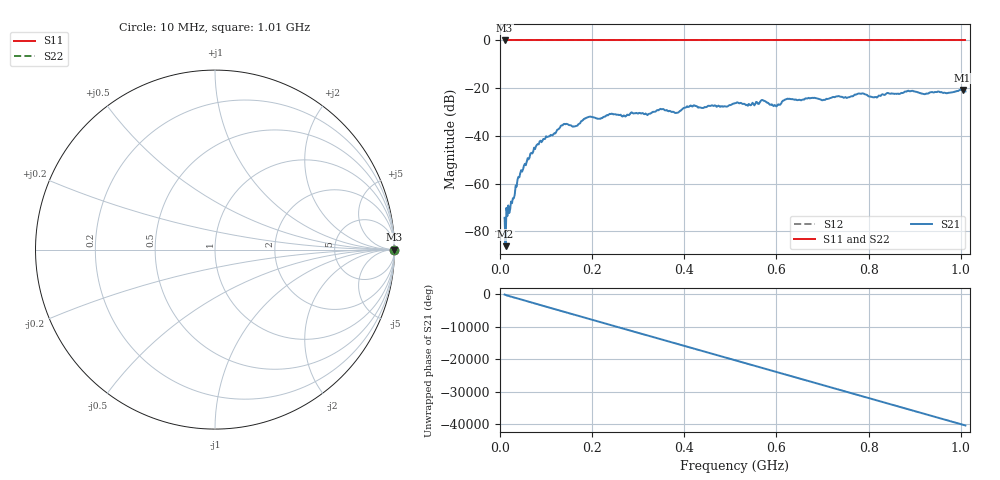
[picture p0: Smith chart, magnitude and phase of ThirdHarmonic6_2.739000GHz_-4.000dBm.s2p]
! 8/17/2025 6:46:56 AM
! C:\ANRITSUVNA\TEMP\TEMP.S2P
! CHANNEL.1
! TR.MEASUREMENT
! RAW.DATA
! RF.CORRECTION.OFF
! AVERAGING.OFF
! IF.BANDWIDTH: 5KHZ
! SWEEPTYPE:  FREQ.SWEEP(Linear)
! Reference Plane Port Info
! PORT:  PORT1  PORT2
! DISTANCE:  0  m  0  m
! TIME:  0  s  0  s
! PHASE.OFFSET:  0  deg.  0  deg.
! LOSS:  0  dB  0  dB
! REF.LOSS:  0  dB  0  dB
! REF.FREQ:  0  Hz  0  Hz
! Power Info
! POWER:  -20  dBm  -20  dBm
! EFF.POWER:  -20  dBm  -20  dBm
! SOURCE.ATTEN:  0  dB  0  dB
! TEST.ATTEN:  0  dB  0  dB
# GHZ S RI R 50.0
! FREQ.GHZ  S11RE  S11IM  S21RE  S21IM  S12RE  S12IM  S22RE  S22IM
!; PortSelection: Port_12
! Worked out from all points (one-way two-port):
!   501 points, 10 MHz to 1.01 GHz, reference 50 ohm
!   highest |S21| = -20.69 dB at 1.004 GHz (marker M1); lowest = -86.2 dB at 12 MHz (marker M2)
!   lowest |S11| = 0.0 dB at 10 MHz (marker M3)
!   |S11| at or under -10 dB: nowhere
!   |S22| runs from 0.0 to 0.0 dB; largest |S21 - S12| = 1.1
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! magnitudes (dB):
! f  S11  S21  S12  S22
! 10 MHz  0.0  -74.3  0.0  0.0
! 12 MHz  0.0  -86.2  0.0  0.0
! 24 MHz  0.0  -67.5  0.0  0.0
! 42 MHz  0.0  -57.4  0.0  0.0
! 78 MHz  0.0  -44.3  0.0  0.0
! 136 MHz  0.0  -35.6  0.0  0.0
! 162 MHz  0.0  -36.0  0.0  0.0
! 178 MHz  0.0  -33.7  0.0  0.0
! 344 MHz  0.0  -29.3  0.0  0.0
! 384 MHz  0.0  -30.3  0.0  0.0
! 410 MHz  0.0  -27.8  0.0  0.0
! 510 MHz  0.0  -26.3  0.0  0.0
! 542 MHz  0.0  -26.9  0.0  0.0
! 570 MHz  0.0  -25.0  0.0  0.0
! 596 MHz  0.0  -27.0  0.0  0.0
! 624 MHz  0.0  -24.4  0.0  0.0
! 678 MHz  0.0  -24.0  0.0  0.0
! 782 MHz  0.0  -22.3  0.0  0.0
! 814 MHz  0.0  -23.7  0.0  0.0
! 844 MHz  0.0  -22.2  0.0  0.0
! 1.004 GHz  0.0  -20.7  0.0  0.0
! 1.01 GHz  0.0  -21.3  0.0  0.0
